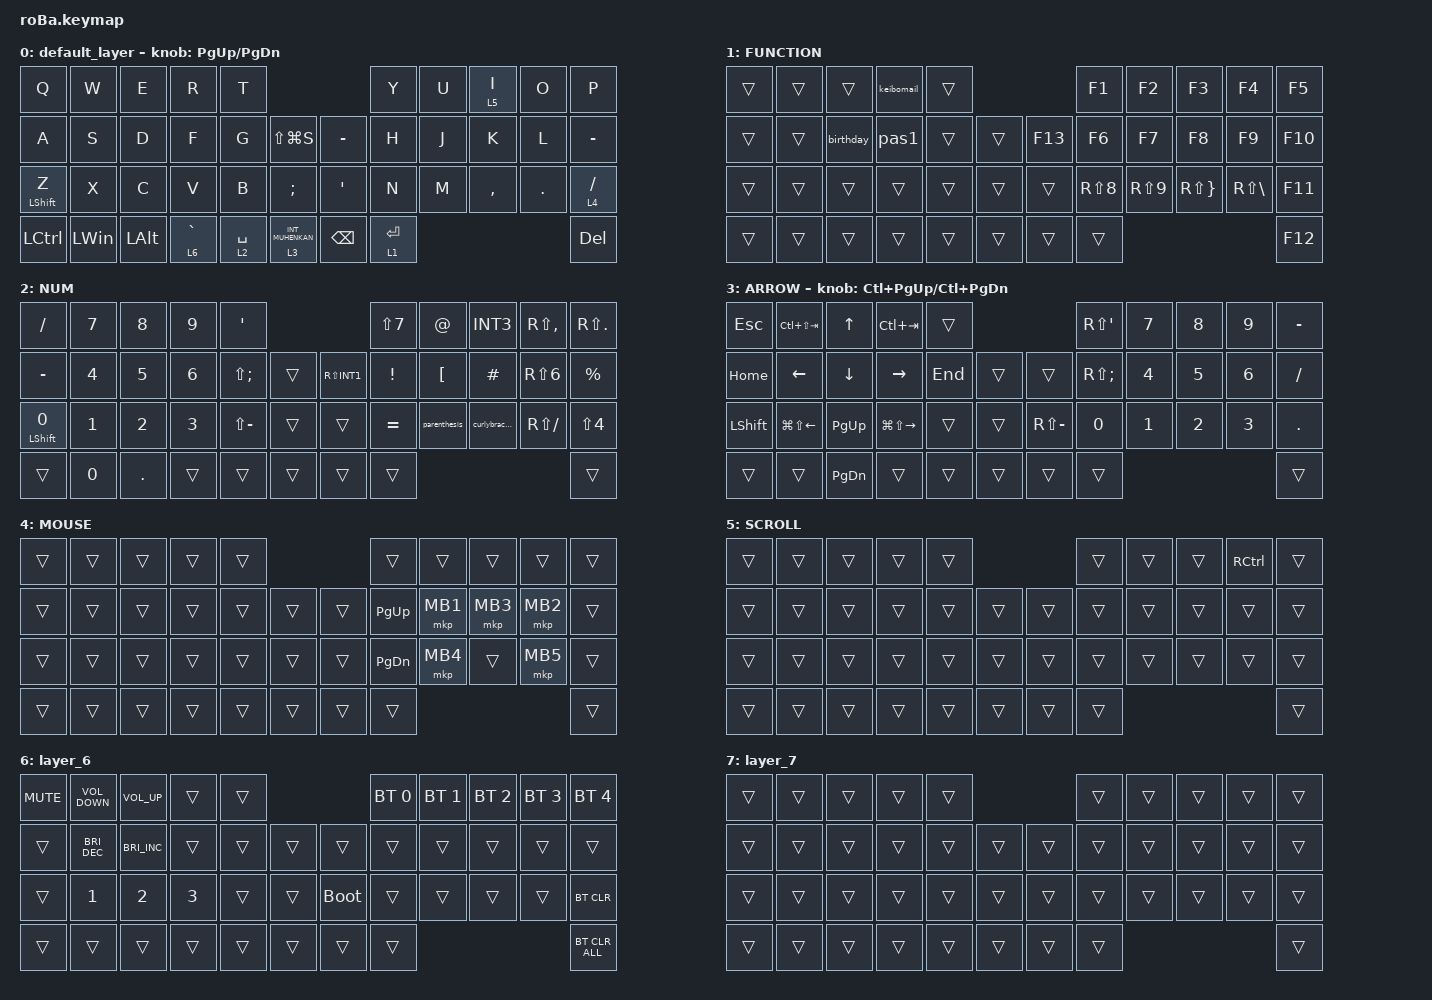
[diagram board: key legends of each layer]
#include <behaviors.dtsi>
#include <dt-bindings/zmk/bt.h>
#include <dt-bindings/zmk/keys.h>
#include <dt-bindings/zmk/pointing.h>

// OS設定を日本語キーボードのまま使用するための変換定義

#define JP_DQUOTE       AT                // "
#define JP_AMPERSAND    CARET             // &
#define JP_QUOTE        AMPERSAND         // '
#define JP_EQUAL        UNDER             // =
#define JP_CARET        EQUAL             // ^
#define JP_YEN          0x89              // ¥
#define JP_PLUS         COLON             // +
#define JP_TILDE        PLUS              // ~
#define JP_PIPE         LS(0x89)          // |
#define JP_AT           LEFT_BRACKET      // @
#define JP_COLON        SINGLE_QUOTE      // :
#define JP_ASTERISK     DOUBLE_QUOTES     // *
#define JP_BACKQUOTE    LEFT_BRACE        // `
#define JP_UNDERSCORE   LS(0x87)          // _
#define JP_LBRACKET     RIGHT_BRACKET     // [
#define JP_RBRACKET     BACKSLASH         // ]
#define JP_LPAREN       ASTERISK          // (
#define JP_RPAREN       LEFT_PARENTHESIS  // )
#define JP_LBRACE       RIGHT_BRACE       // {
#define JP_RBRACE       PIPE              // }
#define JP_KANA         LANGUAGE_1        // かな
#define JP_EISU         LANGUAGE_2        // 英数
#define JP_HANZEN       GRAVE             // 半角/全角

&mt {
    flavor = "balanced";
    quick-tap-ms = <0>;
};

&trackball {
    // オートマウスレイヤーを無効化しました
    // automouse-layer = <4>;

    scroll-layers = <5>;

    arrows {
        layers = <3>;
        bindings =
            <&kp RIGHT_ARROW>,
            <&kp LEFT_ARROW>,
            <&kp UP_ARROW>,
            <&kp DOWN_ARROW>;

        tick = <10>;
        wait-ms = <5>;
        tap-ms = <5>;
    };
};

/ {
    combos {
        compatible = "zmk,combos";

        tab {
            bindings = <&kp TAB>;
            key-positions = <11 12>;
        };

        shift_tab {
            bindings = <&kp LS(TAB)>;
            key-positions = <12 13>;
        };

        mouse {
            bindings = <&mo 4>;
            key-positions = <24 23>;
        };

        copy {
            bindings = <&kp RC(C)>;
            key-positions = <18 19>;
        };

        paste {
            bindings = <&kp RC(V)>;
            key-positions = <30 31>;
        };

        cut {
            bindings = <&kp RC(X)>;
            key-positions = <6 7>;
        };

        L2 {
            bindings = <&mo 2>;
            key-positions = <7 8>;
        };

        shift {
            bindings = <&kp RSHFT>;
            key-positions = <20 19>;
        };

        ctrl {
            bindings = <&kp RCTRL>;
            key-positions = <31 32>;
        };

        tab2 {
            bindings = <&kp TAB>;
            key-positions = <18 19 20>;
        };
    };

    macros {
        to_layer_0: to_layer_0 {
            compatible = "zmk,behavior-macro-one-param";
            #binding-cells = <1>;
            bindings = <&to 0 &macro_param_1to1 &kp MACRO_PLACEHOLDER>;
            label = "TO_LAYER_0";
        };

        pas1: new_macro {
            compatible = "zmk,behavior-macro";
            #binding-cells = <0>;
            bindings = <&kp NUMBER_0 &kp NUMBER_7 &kp NUMBER_3 &kp NUMBER_1 &kp T &kp A &kp K &kp A &kp S &kp H &kp I>;
            label = "NEW_MACRO";
        };

        keibomail: keibomail {
            compatible = "zmk,behavior-macro";
            #binding-cells = <0>;
            bindings = <&kp K &kp E &kp I &kp B &kp O &kp LBKT &kp C &kp I &kp T &kp Y &kp DOT &kp I &kp W &kp A &kp T &kp A &kp DOT &kp L &kp G &kp DOT &kp J &kp P>;
            label = "KEIBOMAIL";
        };

        birthday: birthday {
            compatible = "zmk,behavior-macro";
            #binding-cells = <0>;
            bindings = <&kp NUMBER_1 &kp NUMBER_9 &kp NUMBER_8 &kp NUMBER_0 &kp NUMBER_0 &kp NUMBER_7 &kp NUMBER_3 &kp NUMBER_1>;
            label = "BIRTHDAY";
        };

        parenthesis: parenthesis {
            compatible = "zmk,behavior-macro";
            #binding-cells = <0>;
            bindings = <&kp RS(NUMBER_8) &kp RS(NUMBER_9) &kp LEFT_ARROW>;
            label = "PARENTHESIS";
        };

        curlybracket: curlybracket {
            compatible = "zmk,behavior-macro";
            #binding-cells = <0>;
            bindings = <&kp RS(RBRC) &kp RS(BACKSLASH) &kp LEFT_ARROW>;
            label = "CURLYBRACKET";
        };

        nefoap119: nefoap119 {
            compatible = "zmk,behavior-macro";
            #binding-cells = <0>;
            bindings = <&kp LBKT &kp NUMBER_1 &kp NUMBER_1 &kp NUMBER_9>;
            label = "NEFOAP119";
        };
    };

    behaviors {
        lt_to_layer_0: lt_to_layer_0 {
            compatible = "zmk,behavior-hold-tap";
            label = "LAYER_TAP_TO_0";
            bindings = <&mo>, <&to_layer_0>;

            #binding-cells = <2>;
            tapping-term-ms = <200>;
        };
    };

    keymap {
        compatible = "zmk,keymap";

        default_layer {
            bindings = <
&kp Q             &kp W         &kp E         &kp R        &kp T                                               &kp Y        &kp U  &lt 5 I    &kp O    &kp P
&kp A             &kp S         &kp D         &kp F        &kp G        &kp LS(LG(S))           &kp MINUS      &kp H        &kp J  &kp K      &kp L    &kp MINUS
&mt LEFT_SHIFT Z  &kp X         &kp C         &kp V        &kp B        &kp SEMI                &kp SQT        &kp N        &kp M  &kp COMMA  &kp DOT  &lt 4 SLASH
&kp LCTRL         &kp LEFT_WIN  &kp LEFT_ALT  &lt 6 GRAVE  &lt 2 SPACE  &lt 3 INT_MUHENKAN      &kp BACKSPACE  &lt 1 ENTER                             &kp DEL
            >;

            sensor-bindings = <&inc_dec_kp PG_UP PAGE_DOWN>;
        };

        FUNCTION {
            bindings = <
&trans  &trans  &trans     &keibomail  &trans                       &kp F1            &kp F2            &kp F3        &kp F4        &kp F5
&trans  &trans  &birthday  &pas1       &trans  &trans      &kp F13  &kp F6            &kp F7            &kp F8        &kp F9        &kp F10
&trans  &trans  &trans     &trans      &trans  &trans      &trans   &kp RS(NUMBER_8)  &kp RS(NUMBER_9)  &kp RS(RBRC)  &kp RS(BSLH)  &kp F11
&trans  &trans  &trans     &trans      &trans  &trans      &trans   &trans                                                          &kp F12
            >;
        };

        NUM {
            bindings = <
&kp SLASH                &kp NUMBER_7  &kp NUMBER_8  &kp NUMBER_9  &kp SQT                                  &kp LS(NUMBER_7)  &kp AT        &kp INT3       &kp RS(COMMA)     &kp RS(PERIOD)
&kp MINUS                &kp NUMBER_4  &kp NUMBER_5  &kp NUMBER_6  &kp LS(SEMI)   &trans      &kp RS(INT1)  &kp EXCLAMATION   &kp LBKT      &kp HASH       &kp RS(NUMBER_6)  &kp PERCENT
&mt LEFT_SHIFT NUMBER_0  &kp NUMBER_1  &kp NUMBER_2  &kp NUMBER_3  &kp LS(MINUS)  &trans      &trans        &kp EQUAL         &parenthesis  &curlybracket  &kp RS(SLASH)     &kp LS(NUMBER_4)
&trans                   &kp NUMBER_0  &kp DOT       &trans        &trans         &trans      &trans        &trans                                                           &trans
            >;
        };

        ARROW {
            bindings = <
&kp ESCAPE      &kp LC(LS(TAB))         &kp UP_ARROW    &kp LC(TAB)              &trans                              &kp RS(SQT)   &kp NUMBER_7  &kp NUMBER_8  &kp NUMBER_9  &kp MINUS
&kp HOME        &kp LEFT_ARROW          &kp DOWN_ARROW  &kp RIGHT_ARROW          &kp END  &trans      &trans         &kp RS(SEMI)  &kp NUMBER_4  &kp NUMBER_5  &kp NUMBER_6  &kp SLASH
&kp LEFT_SHIFT  &kp LG(LS(LEFT_ARROW))  &kp PAGE_UP     &kp LG(LS(RIGHT_ARROW))  &trans   &trans      &kp RS(MINUS)  &kp NUMBER_0  &kp NUMBER_1  &kp NUMBER_2  &kp NUMBER_3  &kp DOT
&trans          &trans                  &kp PAGE_DOWN   &trans                   &trans   &trans      &trans         &trans                                                  &trans
            >;

            sensor-bindings = <&inc_dec_kp LC(PAGE_UP) LC(PAGE_DOWN)>;
        };

        MOUSE {
            bindings = <
&trans  &trans  &trans  &trans  &trans                      &trans         &trans    &trans    &trans    &trans
&trans  &trans  &trans  &trans  &trans  &trans      &trans  &kp PG_UP      &mkp MB1  &mkp MB3  &mkp MB2  &trans
&trans  &trans  &trans  &trans  &trans  &trans      &trans  &kp PAGE_DOWN  &mkp MB4  &trans    &mkp MB5  &trans
&trans  &trans  &trans  &trans  &trans  &trans      &trans  &trans                                       &trans
            >;
        };

        SCROLL {
            bindings = <
&trans  &trans  &trans  &trans  &trans                      &trans  &trans  &trans  &kp RCTRL  &trans
&trans  &trans  &trans  &trans  &trans  &trans      &trans  &trans  &trans  &trans  &trans     &trans
&trans  &trans  &trans  &trans  &trans  &trans      &trans  &trans  &trans  &trans  &trans     &trans
&trans  &trans  &trans  &trans  &trans  &trans      &trans  &trans                             &trans
            >;
        };

        layer_6 {
            bindings = <
&kp C_MUTE  &kp C_VOLUME_DOWN     &kp C_VOLUME_UP       &trans        &trans                           &bt BT_SEL 0  &bt BT_SEL 1  &bt BT_SEL 2  &bt BT_SEL 3  &bt BT_SEL 4
&trans      &kp C_BRIGHTNESS_DEC  &kp C_BRIGHTNESS_INC  &trans        &trans  &trans      &trans       &trans        &trans        &trans        &trans        &trans
&trans      &kp NUMBER_1          &kp NUMBER_2          &kp NUMBER_3  &trans  &trans      &bootloader  &trans        &trans        &trans        &trans        &bt BT_CLR
&trans      &trans                &trans                &trans        &trans  &trans      &trans       &trans                                                  &bt BT_CLR_ALL
            >;
        };

        layer_7 {
            bindings = <
&trans  &trans  &trans  &trans  &trans                      &trans  &trans  &trans  &trans  &trans
&trans  &trans  &trans  &trans  &trans  &trans      &trans  &trans  &trans  &trans  &trans  &trans
&trans  &trans  &trans  &trans  &trans  &trans      &trans  &trans  &trans  &trans  &trans  &trans
&trans  &trans  &trans  &trans  &trans  &trans      &trans  &trans                          &trans
            >;
        };
    };
};
